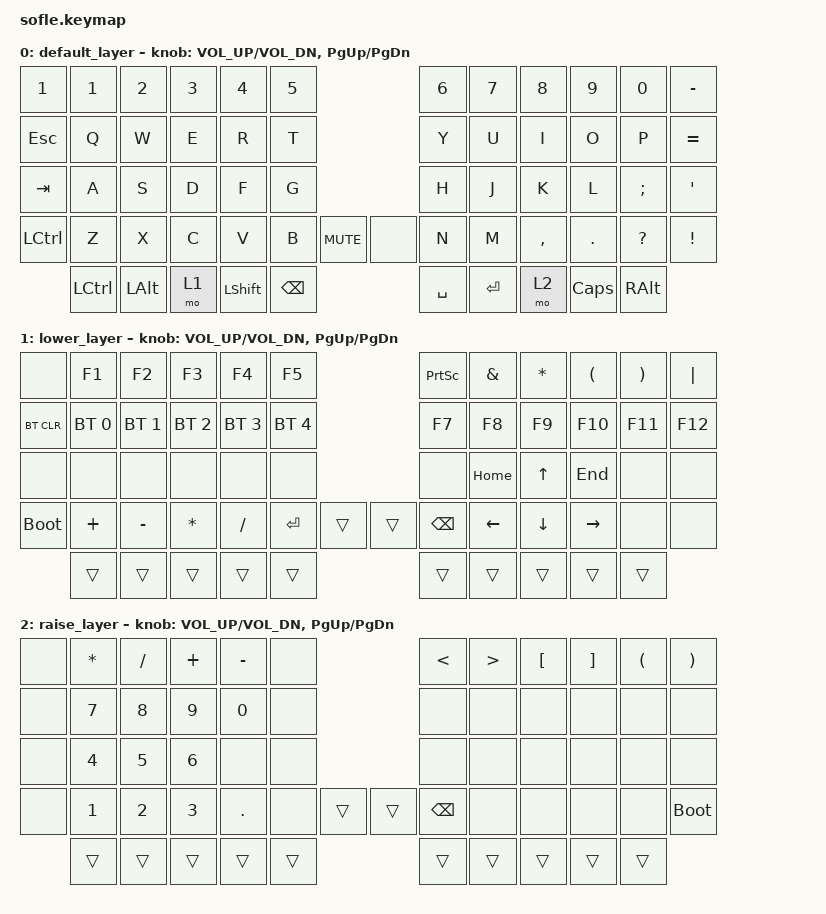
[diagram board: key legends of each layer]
/*
 * Copyright (c) 2020 The ZMK Contributors
 *
 * SPDX-License-Identifier: MIT
 */

#include <behaviors.dtsi>
#include <dt-bindings/zmk/keys.h>
#include <dt-bindings/zmk/bt.h>

/ {
    combos {
        compatible = "zmk,combos";
        combo_command {
            timeout-ms = <50>;
            key-positions = <31 32>;
            bindings = <&kp RGUI>;
        };
                 combo_tab {
           timeout-ms = <50>;
           key-positions = <27 28>;
           bindings = <&kp TAB>;
         };
    };
};

/ {
    keymap {
        compatible = "zmk,keymap";

        default_layer {
// ------------------------------------------------------------------------------------------------------------
// | ESC  |  1  |  2  |  3   |  4   |  5   |                   |  6   |  7    |  8    |  9   |   0   |   -   |
// | ESC  |  Q  |  W  |  E   |  R   |  T   |                   |  Y   |  U    |  I    |  O   |   P   |   =   |
// | TAB  |  A  |  S  |  D   |  F   |  G   |                   |  H   |  J    |  K    |  L   |   ;   |   '   |
// | CTRL |  Z  |  X  |  C   |  V   |  B   |  MUTE|  |         |  N   |  M    |  ,    |  .   |   ?   |   !   |
//               | Left| CTRL | ALT  | SHIFT| BSPC |  | SPACE | RET  | CTRL  | CAPS  | Right
            bindings = <
&kp N1     &kp N1 &kp N2  &kp N3  &kp N4   &kp N5                          &kp N6 &kp N7    &kp N8    &kp N9   &kp N0    &kp MINUS
&kp ESC    &kp Q   &kp W    &kp E    &kp R     &kp T                       &kp Y  &kp U     &kp I     &kp O    &kp P     &kp EQUAL
&kp TAB    &kp A   &kp S    &kp D    &kp F     &kp G                       &kp H  &kp J     &kp K     &kp L    &kp SEMI  &kp SQT
&kp LCTRL  &kp Z   &kp X    &kp C    &kp V     &kp B  &kp C_MUTE   &none   &kp N  &kp M     &kp COMMA &kp DOT  &kp QMARK &kp EXCL
             &kp LCTRL &kp LALT &mo 1 &kp LSHFT  &kp BSPC               &kp SPACE &kp RET  &mo 2 &kp CAPS  &kp RALT
            >;

            sensor-bindings = <&inc_dec_kp C_VOL_UP C_VOL_DN &inc_dec_kp PG_UP PG_DN>;
        };

        lower_layer {
// TODO: Some binds are waiting for shifted keycode support.
// ------------------------------------------------------------------------------------------------------------ 
// |   BTC | BT0 | BT1 |  BT2 | BT3  | BT4  |                   | PSCR |  &    |  *    |  (   |  )    |   |  |
// |  F1   |  F2 |  F3 |   F4 |   F5 |   F6 |                   |  F7  |  F8   |  F9   |  F10 |  F11  |  F12 |
// |       |     |     |      |      |      |                   |      | HME   |  ^    | END  |       |      |
// |  BL   |  +  |  -  |  *   |  /   | RET  |        |  |       |      |   <   |   V   |  >   |       |      |
//               |     |      |      |      |        |  |       |      |       |       |      |
            bindings = <
&none       &kp F1       &kp F2       &kp F3       &kp F4      &kp F5                    &kp PSCRN &kp AMPS  &kp ASTRK  &kp LPAR  &kp RPAR  &kp PIPE
&bt BT_CLR  &bt BT_SEL 0 &bt BT_SEL 1 &bt BT_SEL 2  &bt BT_SEL 3 &bt BT_SEL 4               &kp F7    &kp F8    &kp F9     &kp F10   &kp F11   &kp F12
&none       &none        &none        &none         &none        &none                      &none     &kp HOME  &kp UP     &kp END   &none     &none
&bootloader &kp PLUS     &kp MINUS   &kp ASTRK      &kp FSLH     &kp RET  &trans    &trans  &kp BSPC  &kp LEFT  &kp DOWN   &kp RIGHT &none     &none
                                        &trans  &trans  &trans  &trans  &trans        &trans  &trans  &trans  &trans  &trans
            >;

            sensor-bindings = <&inc_dec_kp C_VOL_UP C_VOL_DN &inc_dec_kp PG_UP PG_DN>;
        };

        raise_layer {
// ------------------------------------------------------------------------------------------------------------
// |   |  *  |   /  |   +  |   -  |     |                                    |   <  |   >  |   [  |   ]  |   (   |   )   | 
// |   |  7  |   8  |   9  |   0  |     |                                    |      |      |      |      |       |       |
// |   |  1  |   5  |   6  |      |     |                                    |      |      |      |      |       |       |
// |   |  1  |   2  |   3  |   .  |     |   |  |                      |   |  |      |      |      |      |       |  BL   |
//      |      |       |       |      |      |                           |      |      |       |      |    |
            bindings = <
&none     &kp ASTRK  &kp FSLH  &kp PLUS  &kp MINUS  &none                     &kp LT     &kp GT       &kp LBKT    &kp RBKT     &kp LPAR    &kp RPAR 
&none     &kp N7     &kp N8    &kp N9    &kp N0     &none                     &none      &none        &none       &none        &none       &none
&none     &kp N4     &kp N5    &kp N6    &none      &none                     &none      &none        &none       &none        &none       &none
&none     &kp N1     &kp N2    &kp N3   &kp DOT     &none  &trans     &trans  &kp BSPC   &none        &none       &none        &none       &bootloader 
                    &trans  &trans  &trans  &trans  &trans                        &trans  &trans     &trans       &trans   &trans
            >;

            sensor-bindings = <&inc_dec_kp C_VOL_UP C_VOL_DN &inc_dec_kp PG_UP PG_DN>;
        };
    };
};
